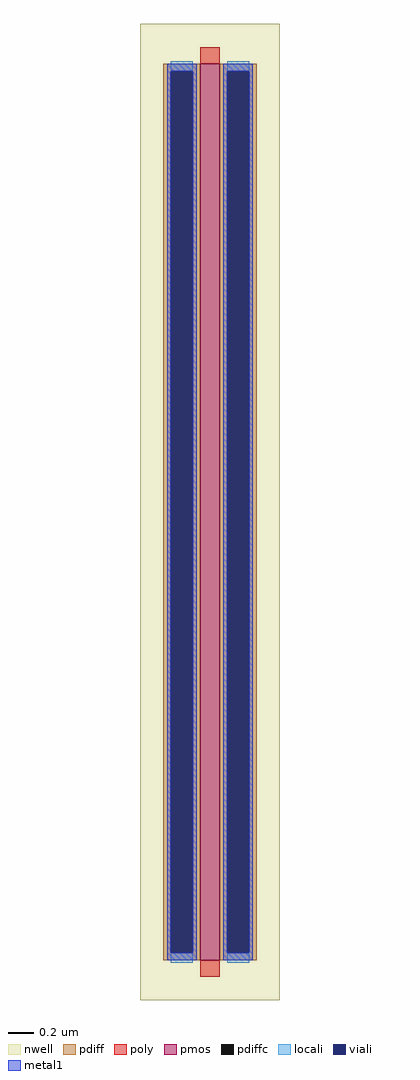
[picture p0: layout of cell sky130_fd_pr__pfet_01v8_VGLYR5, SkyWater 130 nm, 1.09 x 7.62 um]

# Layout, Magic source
magic
tech sky130A
magscale 1 2
<< nwell >>
rect -109 -762 109 762
<< pmos >>
rect -15 -700 15 700
<< pdiff >>
rect -73 688 -15 700
rect -73 -688 -61 688
rect -27 -688 -15 688
rect -73 -700 -15 -688
rect 15 688 73 700
rect 15 -688 27 688
rect 61 -688 73 688
rect 15 -700 73 -688
<< pdiffc >>
rect -61 -688 -27 688
rect 27 -688 61 688
<< poly >>
rect -15 700 15 726
rect -15 -726 15 -700
<< locali >>
rect -61 688 -27 704
rect -61 -704 -27 -688
rect 27 688 61 704
rect 27 -704 61 -688
<< viali >>
rect -61 -688 -27 688
rect 27 -688 61 688
<< metal1 >>
rect -67 688 -21 700
rect -67 -688 -61 688
rect -27 -688 -21 688
rect -67 -700 -21 -688
rect 21 688 67 700
rect 21 -688 27 688
rect 61 -688 67 688
rect 21 -700 67 -688
<< properties >>
string gencell sky130_fd_pr__pfet_01v8
string library sky130
string parameters w 7 l 0.15 m 1 nf 1 diffcov 100 polycov 100 guard 0 glc 1 grc 1 gtc 1 gbc 1 tbcov 100 rlcov 100 topc 0 botc 0 poverlap 0 doverlap 1 lmin 0.15 wmin 0.42 class mosfet compatible {sky130_fd_pr__pfet_01v8  sky130_fd_pr__pfet_01v8_lvt sky130_fd_pr__pfet_01v8_hvt  sky130_fd_pr__pfet_g5v0d10v5} full_metal 0 viasrc 100 viadrn 100 viagate 100 viagb 0 viagr 0 viagl 0 viagt 0
<< end >>
